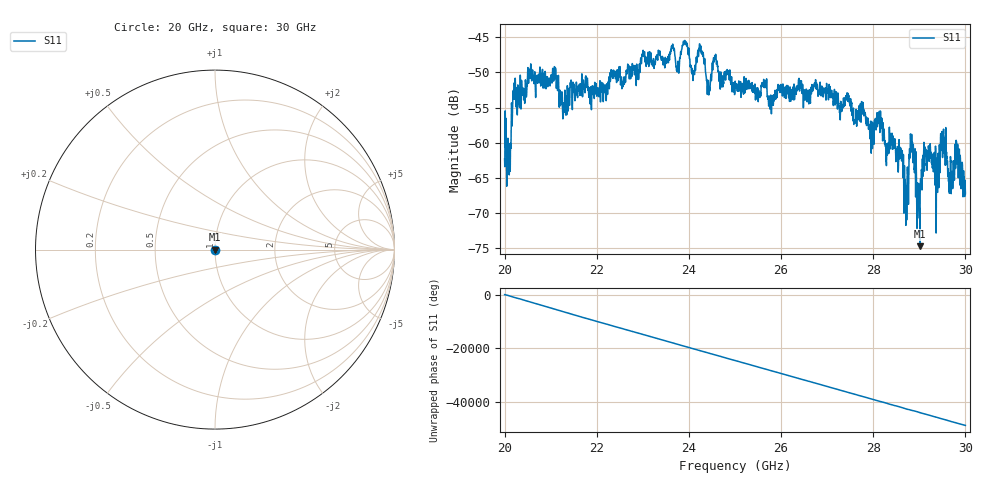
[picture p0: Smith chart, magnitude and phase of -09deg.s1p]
#  HZ  S  RI  R  50.00
! Rohde & Schwarz ZVA40 4Ports - Version 3.90 - 1145.1110k42 SN: 100403
! Date: 2023-10-03 10:15:45
! Measurement: S12
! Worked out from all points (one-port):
!   5001 points, 20 GHz to 30 GHz, reference 50 ohm
!   lowest |S11| = -74.7 dB at 29.01 GHz (marker M1), VSWR 1.00, Z = 50 + j0.0155 ohm
!   |S11| at or under -10 dB: start of sweep to end of sweep
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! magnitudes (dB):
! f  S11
! 20 GHz  -62.3
! 20.09 GHz  -61.0
! 20.22 GHz  -53.7
! 20.55 GHz  -49.8
! 21.09 GHz  -50.3
! 21.25 GHz  -54.1
! 22.5 GHz  -49.4
! 23.64 GHz  -46.4
! 23.75 GHz  -49.7
! 23.92 GHz  -45.5
! 24.08 GHz  -49.6
! 24.27 GHz  -47.1
! 24.42 GHz  -51.4
! 24.57 GHz  -48.1
! 25 GHz  -52.1
! 26.25 GHz  -52.4
! 27.5 GHz  -54.4
! 27.97 GHz  -57.3
! 28.14 GHz  -58.5
! 28.75 GHz  -64.5
! 28.84 GHz  -59.5
! 29.01 GHz  -74.7
! 29.11 GHz  -62.9
! 29.38 GHz  -62.5
! 29.51 GHz  -60.8
! 29.66 GHz  -64.4
! 29.82 GHz  -62.4
! 30 GHz  -67.2
